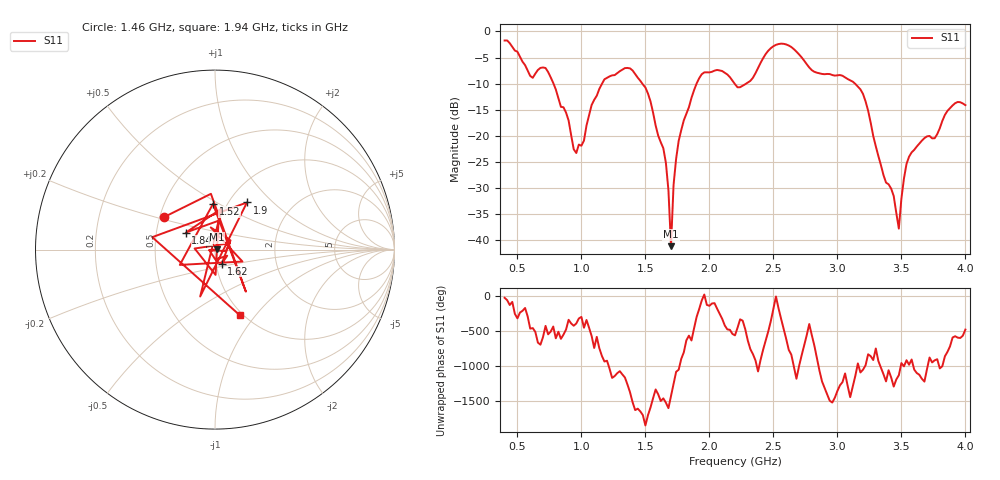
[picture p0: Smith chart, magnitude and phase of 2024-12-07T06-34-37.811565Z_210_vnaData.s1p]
!Created with skrf (http://scikit-rf.org).
# Hz S RI R 50.0
!freq ReS11 ImS11
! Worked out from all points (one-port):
!   181 points, 400 MHz to 4 GHz, reference 50 ohm
!   lowest |S11| = -41.1 dB at 1.7 GHz (marker M1), VSWR 1.02, Z = 50.9 + j0.105 ohm
!   |S11| at or under -10 dB: 782.1 MHz to 1.161 GHz (379.1 MHz wide, 39 % of centre); 1.476 GHz to 1.9 GHz (423.3 MHz wide, 25.1 % of centre); 3.138 GHz to end of sweep (the widest 3 of 4)
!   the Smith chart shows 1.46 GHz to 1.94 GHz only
!   S11 on the Smith chart (normalised r, x): 1.46 GHz: 0.53, +0.21; 1.52 GHz: 0.86, +0.47; 1.62 GHz: 1.06, -0.17; 1.84 GHz: 0.71, +0.14; 1.9 GHz: 1.21, +0.71; 1.94 GHz: 0.97, -0.83
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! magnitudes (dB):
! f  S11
! 400 MHz  -1.7
! 620 MHz  -8.9
! 720 MHz  -7.0
! 860 MHz  -14.5
! 960 MHz  -23.3
! 1.16 GHz  -10.1
! 1.3 GHz  -7.6
! 1.46 GHz  -9.4
! 1.52 GHz  -11.9
! 1.62 GHz  -21.2
! 1.66 GHz  -25.2
! 1.68 GHz  -30.4
! 1.7 GHz  -41.1
! 1.72 GHz  -29.4
! 1.76 GHz  -21.0
! 1.84 GHz  -14.5
! 1.9 GHz  -10.0
! 1.94 GHz  -8.2
! 2.2 GHz  -10.1
! 2.5 GHz  -2.8
! 2.66 GHz  -3.4
! 3.1 GHz  -9.4
! 3.22 GHz  -13.4
! 3.44 GHz  -31.5
! 3.48 GHz  -37.8
! 3.52 GHz  -28.2
! 3.56 GHz  -24.0
! 4 GHz  -14.1
